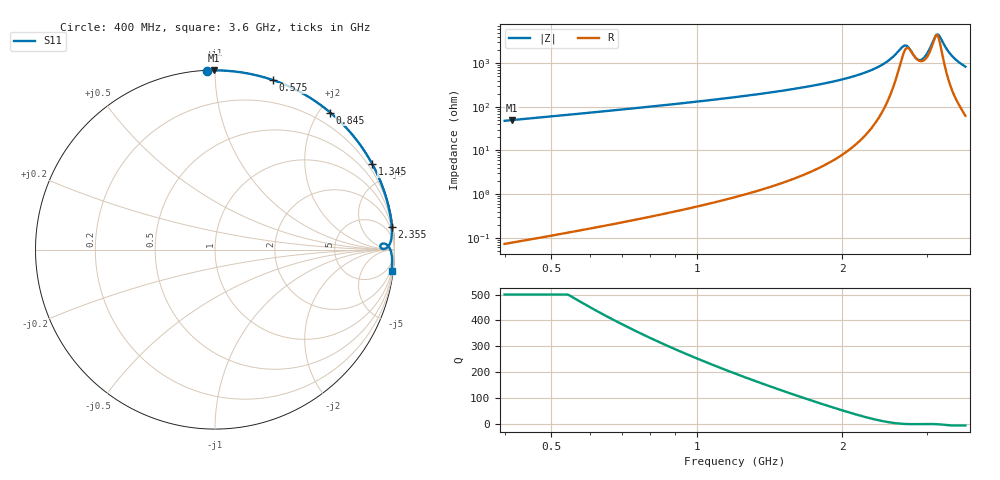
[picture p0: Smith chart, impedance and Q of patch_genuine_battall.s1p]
! patch_genuine_battall
! simulated by sim/rf_fdtd.py
# HZ S RI R 50
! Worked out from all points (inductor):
!   641 points, 400 MHz to 3.6 GHz, reference 50 ohm
!   read as one part to ground: L = 18.7 nH near 415 MHz
!   highest Q = 640 at 415 MHz (marker M1), where L = 19.1 nH
!   self-resonance near 3.128 GHz
!   S11 on the Smith chart (normalised r, x): 400 MHz: 0.00, +0.96; 575 MHz: 0.00, +1.40; 845 MHz: 0.01, +2.15; 1.345 GHz: 0.02, +3.92; 2.355 GHz: 1, +16; 3.6 GHz: 1, -17
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4e8  -0.0441 0.9975
4.15e8  -0.00608 0.9984
4.55e8  0.0892 0.9943
4.95e8  0.1757 0.9826
5.75e8  0.3241 0.9439
6.25e8  0.4018 0.9134
6.8e8  0.4759 0.877
7.4e8  0.545 0.8357
8e8  0.6037 0.7942
8.45e8  0.6421 0.7634
9.2e8  0.6969 0.7136
1.005e9  0.7478 0.66
1.1e9  0.7936 0.604
1.2e9  0.8322 0.5494
1.345e9  0.8751 0.4778
1.6e9  0.9256 0.3697
2e9  0.9684 0.2315
2.355e9  0.9844 0.1262
2.4e9  0.9851 0.1131
2.645e9  0.977 0.0398
2.725e9  0.9637 0.0163
2.8e9  0.9409 0.00352
2.885e9  0.9208 0.0188
2.935e9  0.9292 0.0318
2.98e9  0.9442 0.0335
3.08e9  0.9701 0.0133
3.2e9  0.9828 -0.0201
3.6e9  0.9839 -0.1187
